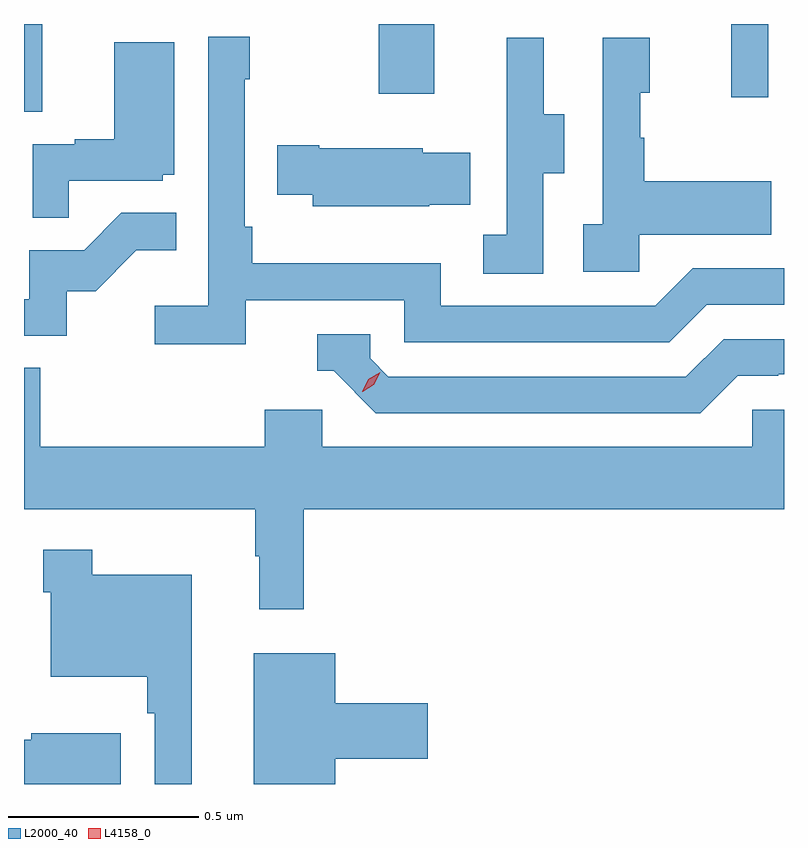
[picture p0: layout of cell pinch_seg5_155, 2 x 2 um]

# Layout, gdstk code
import gdstk
lib = gdstk.Library(unit=1e-6, precision=1e-09)
def R(c, l, rs):  # rectangles x0, y0, x1, y1
    for r in rs: c.add(gdstk.rectangle(r[:2], r[2:], *l))
def P(c, l, *ps):  # polygons
    for p in ps: c.add(gdstk.Polygon(p, *l))
L2000_40 = (2000, 40)
L4158_0 = (4158, 0)

pinch_seg5_155 = lib.new_cell('pinch_seg5_155')
R(pinch_seg5_155, L2000_40, [(1089.967,877.786,1090.015,878.017), (1091.828,877.824,1091.925,878.017), (1090.9,877.833,1091.047,878.017)])
P(pinch_seg5_155, L2000_40, [(1090.55,877.29),(1090.968,877.29),(1090.968,877.179),(1091.665,877.179),(1091.764,877.278),(1091.967,877.278),(1091.967,877.374),(1091.727,877.374),(1091.628,877.275),(1091.064,877.275),(1091.064,877.387),(1090.568,877.387),(1090.568,877.483),(1090.548,877.483),(1090.548,877.871),(1090.561,877.871),(1090.561,877.984),(1090.452,877.984),(1090.452,877.276),(1090.311,877.276),(1090.311,877.174),(1090.55,877.174)],
  [(1091.334,877.624),(1091.389,877.624),(1091.389,877.779),(1091.335,877.779),(1091.335,877.981),(1091.237,877.981),(1091.237,877.767),(1091.238,877.767),(1091.238,877.463),(1091.175,877.463),(1091.175,877.36),(1091.334,877.36)],
  [(1091.586,877.463),(1091.933,877.463),(1091.933,877.603),(1091.599,877.603),(1091.599,877.718),(1091.589,877.718),(1091.589,877.836),(1091.614,877.836),(1091.614,877.981),(1091.49,877.981),(1091.49,877.49),(1091.439,877.49),(1091.439,877.365),(1091.586,877.365)],
  [(1090.085,877.605),(1090.332,877.605),(1090.332,877.62),(1090.363,877.62),(1090.363,877.969),(1090.205,877.969),(1090.205,877.714),(1090.101,877.714),(1090.101,877.701),(1089.99,877.701),(1089.99,877.507),(1090.085,877.507)],
  [(1091.033,877.541),(1091.141,877.541),(1091.141,877.678),(1091.016,877.678),(1091.016,877.69),(1090.744,877.69),(1090.744,877.698),(1090.633,877.698),(1090.633,877.568),(1090.727,877.568),(1090.727,877.538),(1091.033,877.538)],
  [(1090.08,877.314),(1090.156,877.314),(1090.263,877.421),(1090.367,877.421),(1090.367,877.52),(1090.223,877.52),(1090.125,877.422),(1089.981,877.422),(1089.981,877.293),(1089.967,877.293),(1089.967,877.197),(1090.08,877.197)],
  [(1091.845,877.092),(1091.952,877.092),(1091.952,877.095),(1091.967,877.095),(1091.967,877.188),(1091.808,877.188),(1091.709,877.089),(1090.926,877.089),(1090.878,877.137),(1090.878,877.2),(1090.739,877.2),(1090.739,877.104),(1090.782,877.104),(1090.893,876.993),(1091.746,876.993)],
  [(1090.703,876.74),(1091.967,876.74),(1091.967,877.002),(1091.883,877.002),(1091.883,876.904),(1090.752,876.904),(1090.752,877.002),(1090.601,877.002),(1090.601,876.904),(1090.01,876.904),(1090.01,877.112),(1089.967,877.112),(1089.967,876.74),(1090.575,876.74),(1090.575,876.617),(1090.586,876.617),(1090.586,876.477),(1090.703,876.477)],
  [(1090.408,876.568),(1090.147,876.568),(1090.147,876.634),(1090.018,876.634),(1090.018,876.521),(1090.038,876.521),(1090.038,876.299),(1090.291,876.299),(1090.291,876.203),(1090.311,876.203),(1090.311,876.017),(1090.408,876.017)],
  [(1090.786,876.083),(1091.029,876.083),(1091.029,876.23),(1090.786,876.23),(1090.786,876.361),(1090.571,876.361),(1090.571,876.017),(1090.786,876.017)],
  [(1090.222,876.151),(1089.986,876.151),(1089.986,876.134),(1089.967,876.134),(1089.967,876.017),(1090.222,876.017)])
P(pinch_seg5_155, L4158_0, [(1090.857,877.049),(1090.857,877.049),(1090.873,877.082),(1090.904,877.101),(1090.904,877.101),(1090.904,877.101),(1090.888,877.068),(1090.858,877.049)])

lib.write_gds('pinch_seg5_155.gds')
